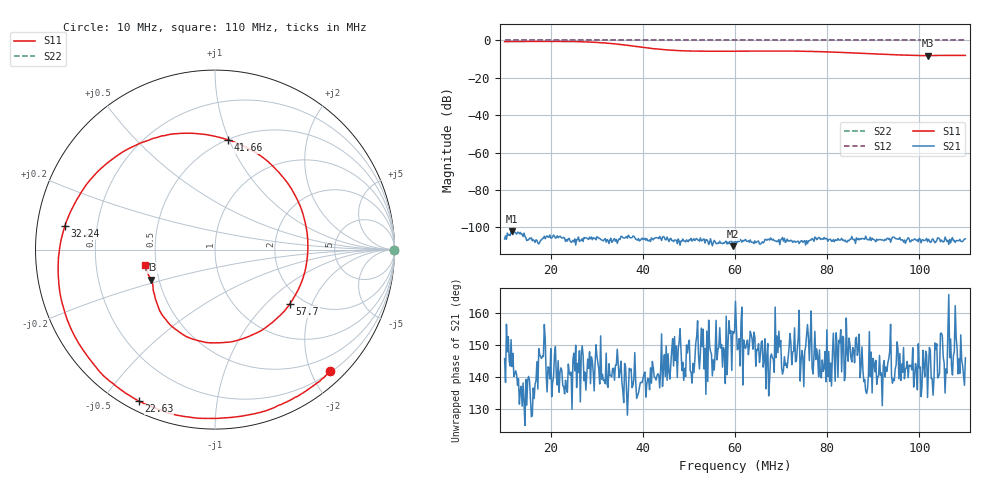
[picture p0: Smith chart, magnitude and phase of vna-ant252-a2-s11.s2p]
! Anritsu VNA Master:  Model: MS2034B/10/19/501
! SN:  1337062
! /bd0/ovro-jan-2016/vna-jan/vna-ant252-a2-s11.s2p
! Existing Calibration Information:
! TYPE:  Current Settings,  Active Cal Settings
! TIME:  01/13/2016 06:04:54 PM,  01/13/2016 05:56:29 PM
! INTERNAL TEMP:  41.0 C,  43.3 C
! # POINTS:  500,  500
! START FREQ:  10.000 MHz,  10.000 MHz
! STOP FREQ:  110.000 MHz,  110.000 MHz
! SOURCE POWER:  High,  High
! IFBW:  100 Hz,  100 Hz
! AVG FACTOR:  4 ,  4
! REF PLANE 1:  0 mm,  0 mm
! REF PLANE 2:  0 mm,  0 mm
! CAL TYPE:  Full S11,  Full S11
! CAL METHOD:  SOLT,  SOLT
! CAL LINE TYPE:  Coax,  Coax
! DUT PORT 1:  K-Conn(M),  K-Conn(M)
! DUT PORT 2:  N-Conn(M),  N-Conn(M)
! CAL STATUS:  OK: Accuracy High,  --
# GHZ S DB R 50.0
! FREQ.GHZ  S11DB  S11A  S21DB  S21A  S12DB  S12A  S22DB  S22A
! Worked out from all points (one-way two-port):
!   500 points, 10 MHz to 110 MHz, reference 50 ohm
!   highest |S21| = -102.11 dB at 11.6 MHz (marker M1); lowest = -110.1 dB at 59.5 MHz (marker M2)
!   lowest |S11| = -8.1 dB at 101.8 MHz (marker M3), VSWR 2.29, Z = 22.7 - j8.94 ohm
!   |S11| at or under -10 dB: nowhere
!   |S22| runs from 0.0 to 0.0 dB; largest |S21 - S12| = 1
!   S11 on the Smith chart (normalised r, x): 10 MHz: 0.22, -2.30; 22.63 MHz: 0.04, -0.62; 32.24 MHz: 0.08, +0.08; 41.66 MHz: 0.50, +0.99; 57.7 MHz: 1.70, -1.40; 110 MHz: 0.44, -0.09
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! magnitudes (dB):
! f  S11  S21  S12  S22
! 10 MHz  -0.6  -106.3  0.0  0.0
! 11.6 MHz  -0.6  -102.1  0.0  0.0
! 22.63 MHz  -0.5  -105.7  0.0  0.0
! 26.83 MHz  -0.7  -106.1  0.0  0.0
! 29.44 MHz  -1.0  -105.9  0.0  0.0
! 32.24 MHz  -1.4  -106.5  0.0  0.0
! 35.25 MHz  -2.2  -104.8  0.0  0.0
! 41.66 MHz  -4.2  -107.6  0.0  0.0
! 43.47 MHz  -4.7  -106.1  0.0  0.0
! 45.87 MHz  -5.2  -106.2  0.0  0.0
! 49.48 MHz  -5.6  -106.7  0.0  0.0
! 52.48 MHz  -5.7  -105.7  0.0  0.0
! 57.7 MHz  -5.8  -108.5  0.0  0.0
! 59.5 MHz  -5.8  -110.1  0.0  0.0
! 60.1 MHz  -5.7  -107.6  0.0  0.0
! 67.92 MHz  -5.6  -106.3  0.0  0.0
! 76.73 MHz  -5.8  -106.0  0.0  0.0
! 86.15 MHz  -6.7  -108.6  0.0  0.0
! 93.37 MHz  -7.6  -106.5  0.0  0.0
! 98.38 MHz  -8.0  -106.7  0.0  0.0
! 101.8 MHz  -8.1  -107.7  0.0  0.0
! 110 MHz  -8.0  -106.2  0.0  0.0
